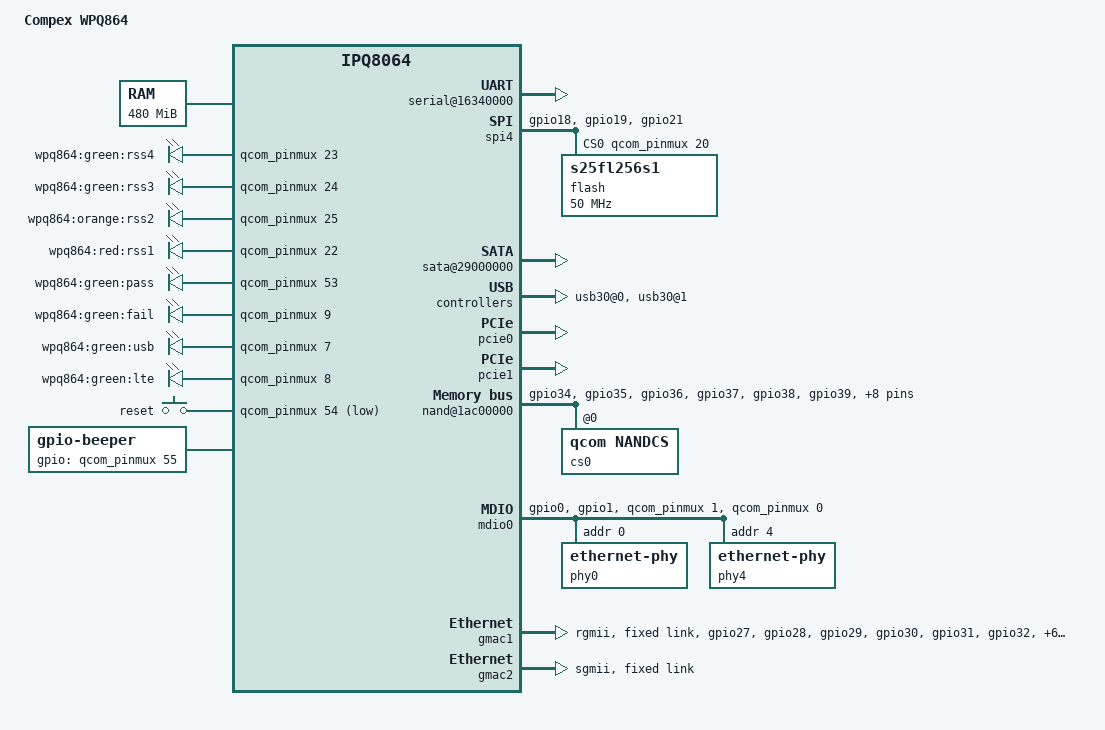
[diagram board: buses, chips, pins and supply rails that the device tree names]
/* Copyright (c) 2015, The Linux Foundation. All rights reserved.
 *
 * Permission to use, copy, modify, and/or distribute this software for any
 * purpose with or without fee is hereby granted, provided that the above
 * copyright notice and this permission notice appear in all copies.
 *
 * THE SOFTWARE IS PROVIDED "AS IS" AND THE AUTHOR DISCLAIMS ALL WARRANTIES
 * WITH REGARD TO THIS SOFTWARE INCLUDING ALL IMPLIED WARRANTIES OF
 * MERCHANTABILITY AND FITNESS. IN NO EVENT SHALL THE AUTHOR BE LIABLE FOR
 * ANY SPECIAL, DIRECT, INDIRECT, OR CONSEQUENTIAL DAMAGES OR ANY DAMAGES
 * WHATSOEVER RESULTING FROM LOSS OF USE, DATA OR PROFITS, WHETHER IN AN
 * ACTION OF CONTRACT, NEGLIGENCE OR OTHER TORTIOUS ACTION, ARISING OUT OF
 * OR IN CONNECTION WITH THE USE OR PERFORMANCE OF THIS SOFTWARE.
 *
 */

#include "qcom-ipq8064-v1.0.dtsi"

#include <dt-bindings/input/input.h>
#include <dt-bindings/soc/qcom,tcsr.h>

/ {
	model = "Compex WPQ864";
	compatible = "qcom,ipq8064-wpq864", "qcom,ipq8064";

	memory@0 {
		reg = <0x42000000 0x1e000000>;
		device_type = "memory";
	};

	reserved-memory {
		#address-cells = <1>;
		#size-cells = <1>;
		ranges;
		rsvd@41200000 {
			reg = <0x41200000 0x300000>;
			no-map;
		};
	};

	aliases {
		serial0 = &gsbi4_serial;
		mdio-gpio0 = &mdio0;
		
		led-boot = &rss4;
		led-failsafe = &rss1;
		led-running = &rss3;
		led-upgrade = &rss2;
	};

	chosen {
		linux,stdout-path = "serial0:115200n8";
	};

	soc {
		pinmux@800000 {
			led_pins: led_pins {
				mux {
					pins = "gpio23", "gpio24", "gpio25", "gpio22", "gpio53",
						"gpio9", "gpio7", "gpio8";
					function = "gpio";
					drive-strength = <2>;
					bias-pull-up;
				};
			};
			button_pins: button_pins {
				mux {
					pins = "gpio54";
					function = "gpio";
					drive-strength = <2>;
					bias-pull-up;
				};
			};
			beeper_pins: beeper_pins {
				mux {
					pins = "gpio55";
					function = "gpio";
					drive-strength = <2>;
					bias-pull-up;
				};
			};
			i2c4_pins: i2c4_pinmux {
				pins = "gpio12", "gpio13";
				function = "gsbi4";
				bias-disable;
			};

			spi_pins: spi_pins {
				mux {
					pins = "gpio18", "gpio19", "gpio21";
					function = "gsbi5";
					drive-strength = <10>;
					bias-none;
				};
			};
			nand_pins: nand_pins {
				mux {
					pins = "gpio34", "gpio35", "gpio36",
					       "gpio37", "gpio38", "gpio39",
					       "gpio40", "gpio41", "gpio42",
					       "gpio43", "gpio44", "gpio45",
					       "gpio46", "gpio47";
					function = "nand";
					drive-strength = <10>;
					bias-disable;
				};
				pullups {
					pins = "gpio39";
					bias-pull-up;
				};
				hold {
					pins = "gpio40", "gpio41", "gpio42",
					       "gpio43", "gpio44", "gpio45",
					       "gpio46", "gpio47";
					bias-bus-hold;
				};
			};

			mdio0_pins: mdio0_pins {
				mux {
					pins = "gpio0", "gpio1";
					function = "gpio";
					drive-strength = <8>;
					bias-disable;
				};
			};

			rgmii2_pins: rgmii2_pins {
				mux {
					pins = "gpio27", "gpio28", "gpio29", "gpio30", "gpio31", "gpio32",
					       "gpio51", "gpio52", "gpio59", "gpio60", "gpio61", "gpio62" ;
					function = "rgmii2";
					drive-strength = <8>;
					bias-disable;
				};
			};
		};

		gsbi@16300000 {
			qcom,mode = <GSBI_PROT_I2C_UART>;
			status = "ok";
			serial@16340000 {
				status = "ok";
			};

			/*
			* The i2c device on gsbi4 should not be enabled.
			* On ipq806x designs gsbi4 i2c is meant for exclusive
			* RPM usage. Turning this on in kernel manifests as
			* i2c failure for the RPM.
			*/
		};

		gsbi5: gsbi@1a200000 {
			qcom,mode = <GSBI_PROT_SPI>;
			status = "ok";

			spi4: spi@1a280000 {
				status = "ok";
				spi-max-frequency = <50000000>;

				pinctrl-0 = <&spi_pins>;
				pinctrl-names = "default";

				cs-gpios = <&qcom_pinmux 20 0>;

				flash: m25p80@0 {
					compatible = "s25fl256s1";
					#address-cells = <1>;
					#size-cells = <1>;
					spi-max-frequency = <50000000>;
					reg = <0>;

					linux,part-probe = "qcom-smem";
				};
			};
		};

		sata-phy@1b400000 {
			status = "ok";
		};

		sata@29000000 {
			status = "ok";
		};

		phy@100f8800 {		/* USB3 port 1 HS phy */
			status = "ok";
		};

		phy@100f8830 {		/* USB3 port 1 SS phy */
			status = "ok";
		};

		phy@110f8800 {		/* USB3 port 0 HS phy */
			status = "ok";
		};

		phy@110f8830 {		/* USB3 port 0 SS phy */
			status = "ok";
		};

		usb30@0 {
			status = "ok";
		};

		usb30@1 {
			status = "ok";
		};

		pcie0: pci@1b500000 {
			status = "ok";
			phy-tx0-term-offset = <7>;
		};

		pcie1: pci@1b700000 {
			status = "ok";
			phy-tx0-term-offset = <7>;
		};

		nand@1ac00000 {
			status = "ok";

			pinctrl-0 = <&nand_pins>;
			pinctrl-names = "default";

			cs0 {
				reg = <0>;
				compatible = "qcom,nandcs";

				nand-ecc-strength = <4>;
				nand-bus-width = <8>;
				nand-ecc-step-size = <512>;

				linux,part-probe = "qcom-smem";
			};
		};

		mdio0: mdio {
			compatible = "virtual,mdio-gpio";
			#address-cells = <1>;
			#size-cells = <0>;
			gpios = <&qcom_pinmux 1 0 &qcom_pinmux 0 0>;
			pinctrl-0 = <&mdio0_pins>;
			pinctrl-names = "default";

			phy0: ethernet-phy@0 {
				device_type = "ethernet-phy";
				reg = <0>;
				qca,ar8327-initvals = <
					0x00004 0x7600000   /* PAD0_MODE */
					0x00008 0x1000000   /* PAD5_MODE */
					0x0000c 0x80        /* PAD6_MODE */
					0x000e4 0x6a545     /* MAC_POWER_SEL */
					0x000e0 0xc74164de  /* SGMII_CTRL */
					0x0007c 0x4e        /* PORT0_STATUS */
					0x00094 0x4e        /* PORT6_STATUS */
					>;
			};

			phy4: ethernet-phy@4 {
				device_type = "ethernet-phy";
				reg = <4>;
			};
		};

		gmac1: ethernet@37200000 {
			status = "ok";
			phy-mode = "rgmii";
			qcom,id = <1>;

			pinctrl-0 = <&rgmii2_pins>;
			pinctrl-names = "default";

			fixed-link {
				speed = <1000>;
				full-duplex;
			};
		};

		gmac2: ethernet@37400000 {
			status = "ok";
			phy-mode = "sgmii";
			qcom,id = <2>;

			fixed-link {
				speed = <1000>;
				full-duplex;
			};
		};
	};

	gpio-leds {
		compatible = "gpio-leds";
		pinctrl-0 = <&led_pins>;
		pinctrl-names = "default";

		rss4: rss4 {
			label = "wpq864:green:rss4";
			gpios = <&qcom_pinmux 23 GPIO_ACTIVE_HIGH>;
		};

		rss3: rss3 {
			label = "wpq864:green:rss3";
			gpios = <&qcom_pinmux 24 GPIO_ACTIVE_HIGH>;
			default-state = "keep";
		};

		rss2: rss2 {
			label = "wpq864:orange:rss2";
			gpios = <&qcom_pinmux 25 GPIO_ACTIVE_HIGH>;
		};

		rss1: rss1 {
			label = "wpq864:red:rss1";
			gpios = <&qcom_pinmux 22 GPIO_ACTIVE_HIGH>;
		};

		pass {
			label = "wpq864:green:pass";
			gpios = <&qcom_pinmux 53 GPIO_ACTIVE_HIGH>;
		};

		fail {
			label = "wpq864:green:fail";
			gpios = <&qcom_pinmux 9 GPIO_ACTIVE_HIGH>;
		};

		usb {
			label = "wpq864:green:usb";
			gpios = <&qcom_pinmux 7 GPIO_ACTIVE_HIGH>;
		};

		lte {
			label = "wpq864:green:lte";
			gpios = <&qcom_pinmux 8 GPIO_ACTIVE_HIGH>;
		};
	};

	gpio-keys {
		compatible = "gpio-keys";
		pinctrl-0 = <&button_pins>;
		pinctrl-names = "default";

		reset {
			label = "reset";
			gpios = <&qcom_pinmux 54 GPIO_ACTIVE_LOW>;
			linux,code = <KEY_RESTART>;
		};
	};

	beeper: beeper {
		compatible = "gpio-beeper";
		gpios = <&qcom_pinmux 55 GPIO_ACTIVE_HIGH>;
	};
};

&tcsr {
       qcom,usb-ctrl-select = <TCSR_USB_SELECT_USB3_DUAL>;
       compatible = "qcom,tcsr";
};

